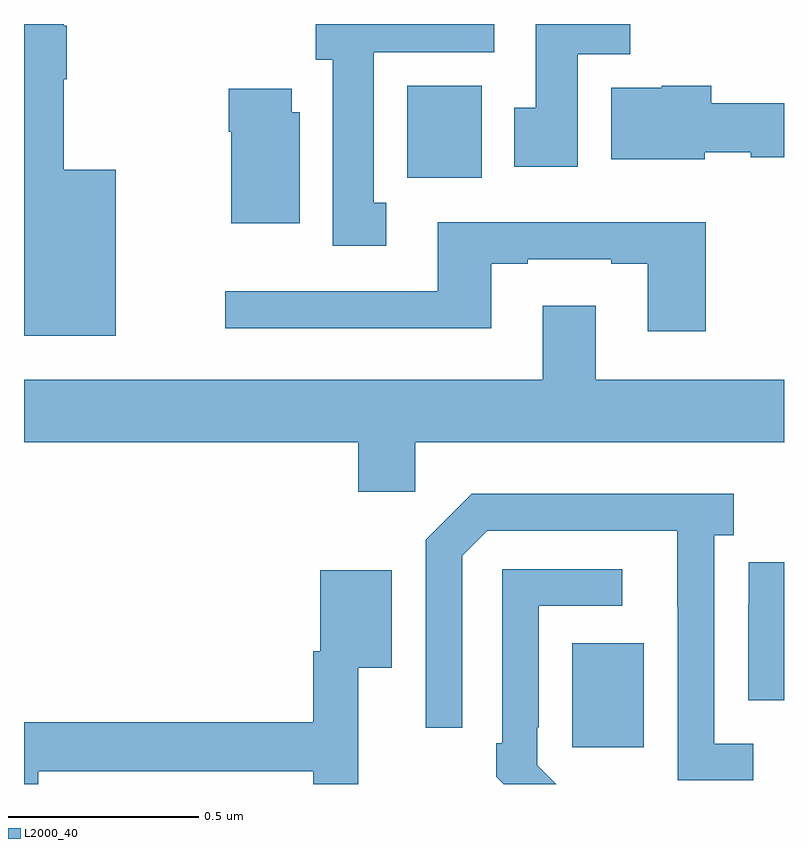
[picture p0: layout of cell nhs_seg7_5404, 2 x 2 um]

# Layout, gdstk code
import gdstk
lib = gdstk.Library(unit=1e-6, precision=1e-09)
def R(c, l, rs):  # rectangles x0, y0, x1, y1
    for r in rs: c.add(gdstk.rectangle(r[:2], r[2:], *l))
def P(c, l, *ps):  # polygons
    for p in ps: c.add(gdstk.Polygon(p, *l))
L2000_40 = (2000, 40)

nhs_seg7_5404 = lib.new_cell('nhs_seg7_5404')
R(nhs_seg7_5404, L2000_40, [(186.443,1049.097,186.631,1049.371), (186.008,1050.596,186.205,1050.838)])
P(nhs_seg7_5404, L2000_40, [(186.457,1050.92),(186.596,1050.92),(186.596,1051),(186.347,1051),(186.347,1050.78),(186.29,1050.78),(186.29,1050.624),(186.457,1050.624)],
  [(185.242,1050.616),(185.105,1050.616),(185.105,1050.854),(185.113,1050.854),(185.113,1050.995),(185.105,1050.995),(185.105,1051),(185,1051),(185,1050.179),(185.242,1050.179)],
  [(185.953,1050.53),(185.92,1050.53),(185.92,1050.926),(186.238,1050.926),(186.238,1051),(185.768,1051),(185.768,1050.906),(185.813,1050.906),(185.813,1050.417),(185.953,1050.417)],
  [(186.792,1050.662),(186.912,1050.662),(186.912,1050.65),(187,1050.65),(187,1050.792),(186.809,1050.792),(186.809,1050.838),(186.678,1050.838),(186.678,1050.832),(186.545,1050.832),(186.545,1050.644),(186.792,1050.644)],
  [(185.725,1050.768),(185.704,1050.768),(185.704,1050.829),(185.539,1050.829),(185.539,1050.716),(185.546,1050.716),(185.546,1050.476),(185.725,1050.476)],
  [(186.794,1050.478),(186.089,1050.478),(186.089,1050.297),(185.529,1050.297),(185.529,1050.2),(186.229,1050.2),(186.229,1050.369),(186.325,1050.369),(186.325,1050.381),(186.545,1050.381),(186.545,1050.369),(186.641,1050.369),(186.641,1050.192),(186.794,1050.192)],
  [(186.03,1049.9),(187,1049.9),(187,1050.064),(186.505,1050.064),(186.505,1050.259),(186.365,1050.259),(186.365,1050.064),(185,1050.064),(185,1049.9),(185.879,1049.9),(185.879,1049.769),(186.03,1049.769)],
  [(186.919,1049.106),(186.816,1049.106),(186.816,1049.654),(186.868,1049.654),(186.868,1049.764),(186.178,1049.764),(186.057,1049.643),(186.057,1049.148),(186.153,1049.148),(186.153,1049.601),(186.219,1049.667),(186.719,1049.667),(186.719,1049.467),(186.72,1049.467),(186.72,1049.01),(186.919,1049.01)],
  [(187,1049.583),(186.907,1049.583),(186.907,1049.474),(186.906,1049.474),(186.906,1049.22),(187,1049.22)],
  [(186.351,1049.049),(186.351,1049.149),(186.354,1049.149),(186.354,1049.469),(186.574,1049.469),(186.574,1049.565),(186.258,1049.565),(186.258,1049.107),(186.243,1049.107),(186.243,1049.019),(186.262,1049),(186.4,1049)],
  [(185.038,1049.034),(185.761,1049.034),(185.761,1049),(185.879,1049),(185.879,1049.306),(185.968,1049.306),(185.968,1049.563),(185.78,1049.563),(185.78,1049.349),(185.761,1049.349),(185.761,1049.162),(185,1049.162),(185,1049),(185.038,1049)])

lib.write_gds('nhs_seg7_5404.gds')
